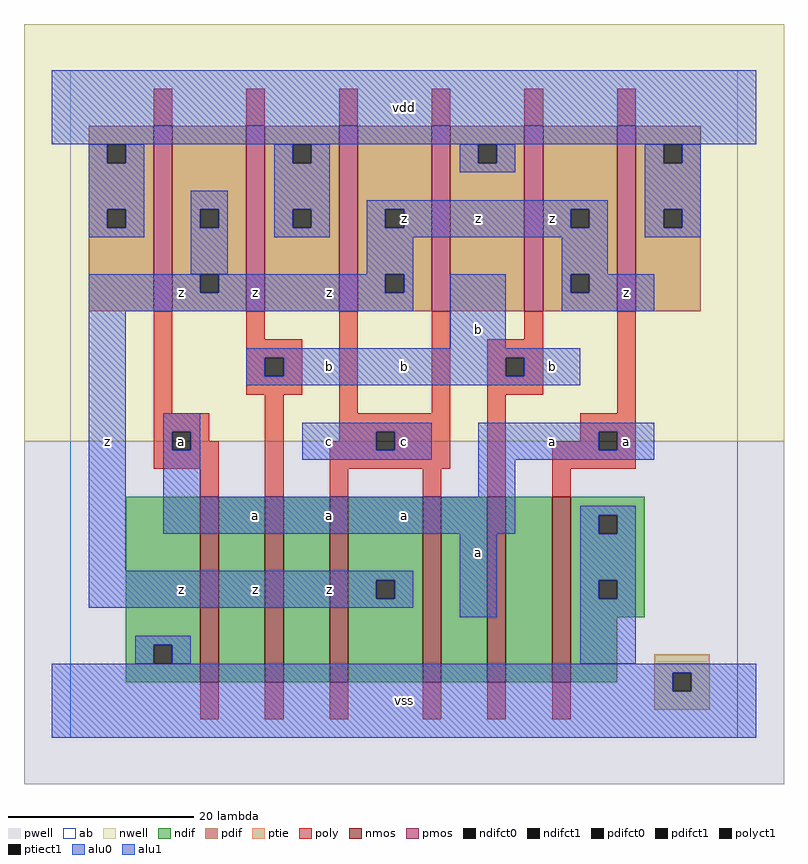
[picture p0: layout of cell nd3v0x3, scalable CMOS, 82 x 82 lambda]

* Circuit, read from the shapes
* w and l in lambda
.subckt nd3v0x3 a b c vdd vss z
M1 n1 a vss vss nfet w=20 l=2
M2 n2 b n1 vss nfet w=20 l=2
M3 z c n2 vss nfet w=20 l=2
M4 n3 c z vss nfet w=20 l=2
M5 n4 b n3 vss nfet w=20 l=2
M6 vss a n4 vss nfet w=20 l=2
M7 z a vdd n5 pfet w=20 l=2 m=2
M8 vdd b z n5 pfet w=20 l=2 m=2
M9 z c vdd n5 pfet w=20 l=2 m=2
.ends

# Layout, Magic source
magic
tech scmos
<< ab >>
rect 0 0 72 72
<< nwell >>
rect -5 32 77 77
<< pwell >>
rect -5 -5 77 32
<< poly >>
rect 9 66 11 70
rect 19 66 21 70
rect 29 66 31 70
rect 39 66 41 70
rect 49 66 51 70
rect 59 66 61 70
rect 9 35 11 46
rect 19 43 21 46
rect 19 41 25 43
rect 19 39 21 41
rect 23 39 25 41
rect 19 37 25 39
rect 9 33 15 35
rect 9 31 11 33
rect 13 32 15 33
rect 13 31 16 32
rect 9 29 16 31
rect 14 26 16 29
rect 21 26 23 37
rect 29 35 31 46
rect 39 35 41 46
rect 49 43 51 46
rect 29 33 41 35
rect 29 32 33 33
rect 28 31 33 32
rect 35 31 41 33
rect 28 29 41 31
rect 45 41 51 43
rect 45 39 47 41
rect 49 39 51 41
rect 45 37 51 39
rect 28 26 30 29
rect 38 26 40 29
rect 45 26 47 37
rect 59 35 61 46
rect 55 33 61 35
rect 55 32 57 33
rect 52 31 57 32
rect 59 31 61 33
rect 52 29 61 31
rect 52 26 54 29
rect 14 2 16 6
rect 21 2 23 6
rect 28 2 30 6
rect 38 2 40 6
rect 45 2 47 6
rect 52 2 54 6
<< ndif >>
rect 6 10 14 26
rect 6 8 9 10
rect 11 8 14 10
rect 6 6 14 8
rect 16 6 21 26
rect 23 6 28 26
rect 30 17 38 26
rect 30 15 33 17
rect 35 15 38 17
rect 30 6 38 15
rect 40 6 45 26
rect 47 6 52 26
rect 54 24 62 26
rect 54 22 57 24
rect 59 22 62 24
rect 54 17 62 22
rect 54 15 57 17
rect 59 15 62 17
rect 54 13 62 15
rect 54 6 59 13
<< pdif >>
rect 2 64 9 66
rect 2 62 4 64
rect 6 62 9 64
rect 2 57 9 62
rect 2 55 4 57
rect 6 55 9 57
rect 2 46 9 55
rect 11 57 19 66
rect 11 55 14 57
rect 16 55 19 57
rect 11 50 19 55
rect 11 48 14 50
rect 16 48 19 50
rect 11 46 19 48
rect 21 64 29 66
rect 21 62 24 64
rect 26 62 29 64
rect 21 57 29 62
rect 21 55 24 57
rect 26 55 29 57
rect 21 46 29 55
rect 31 57 39 66
rect 31 55 34 57
rect 36 55 39 57
rect 31 50 39 55
rect 31 48 34 50
rect 36 48 39 50
rect 31 46 39 48
rect 41 64 49 66
rect 41 62 44 64
rect 46 62 49 64
rect 41 46 49 62
rect 51 57 59 66
rect 51 55 54 57
rect 56 55 59 57
rect 51 50 59 55
rect 51 48 54 50
rect 56 48 59 50
rect 51 46 59 48
rect 61 64 68 66
rect 61 62 64 64
rect 66 62 68 64
rect 61 57 68 62
rect 61 55 64 57
rect 66 55 68 57
rect 61 46 68 55
<< alu1 >>
rect -2 64 74 72
rect 32 57 58 58
rect 32 55 34 57
rect 36 55 54 57
rect 56 55 58 57
rect 32 54 58 55
rect 32 50 37 54
rect 53 50 58 54
rect 2 48 14 50
rect 16 48 34 50
rect 36 48 37 50
rect 2 46 37 48
rect 2 18 6 46
rect 41 42 47 50
rect 53 48 54 50
rect 56 48 63 50
rect 53 46 63 48
rect 19 41 55 42
rect 19 39 21 41
rect 23 39 47 41
rect 49 39 55 41
rect 19 38 55 39
rect 10 33 14 35
rect 10 31 11 33
rect 13 31 14 33
rect 10 26 14 31
rect 25 33 39 34
rect 25 31 33 33
rect 35 31 39 33
rect 25 30 39 31
rect 44 33 63 34
rect 44 31 57 33
rect 59 31 63 33
rect 44 30 63 31
rect 44 26 48 30
rect 10 22 48 26
rect 2 17 37 18
rect 2 15 33 17
rect 35 15 37 17
rect 2 14 37 15
rect 42 13 46 22
rect -2 7 74 8
rect -2 5 65 7
rect 67 5 74 7
rect -2 0 74 5
<< ptie >>
rect 63 7 69 9
rect 63 5 65 7
rect 67 5 69 7
rect 63 3 69 5
<< nmos >>
rect 14 6 16 26
rect 21 6 23 26
rect 28 6 30 26
rect 38 6 40 26
rect 45 6 47 26
rect 52 6 54 26
<< pmos >>
rect 9 46 11 66
rect 19 46 21 66
rect 29 46 31 66
rect 39 46 41 66
rect 49 46 51 66
rect 59 46 61 66
<< polyct1 >>
rect 21 39 23 41
rect 11 31 13 33
rect 33 31 35 33
rect 47 39 49 41
rect 57 31 59 33
<< ndifct0 >>
rect 9 8 11 10
rect 57 22 59 24
rect 57 15 59 17
<< ndifct1 >>
rect 33 15 35 17
<< ptiect1 >>
rect 65 5 67 7
<< pdifct0 >>
rect 4 62 6 64
rect 4 55 6 57
rect 14 55 16 57
rect 24 62 26 64
rect 24 55 26 57
rect 44 62 46 64
rect 64 62 66 64
rect 64 55 66 57
<< pdifct1 >>
rect 14 48 16 50
rect 34 55 36 57
rect 34 48 36 50
rect 54 55 56 57
rect 54 48 56 50
<< alu0 >>
rect 2 62 4 64
rect 6 62 8 64
rect 2 57 8 62
rect 22 62 24 64
rect 26 62 28 64
rect 2 55 4 57
rect 6 55 8 57
rect 2 54 8 55
rect 13 57 17 59
rect 13 55 14 57
rect 16 55 17 57
rect 13 50 17 55
rect 22 57 28 62
rect 42 62 44 64
rect 46 62 48 64
rect 42 61 48 62
rect 62 62 64 64
rect 66 62 68 64
rect 22 55 24 57
rect 26 55 28 57
rect 22 54 28 55
rect 62 57 68 62
rect 62 55 64 57
rect 66 55 68 57
rect 62 54 68 55
rect 55 24 61 25
rect 55 22 57 24
rect 59 22 61 24
rect 55 17 61 22
rect 55 15 57 17
rect 59 15 61 17
rect 7 10 13 11
rect 7 8 9 10
rect 11 8 13 10
rect 55 8 61 15
<< labels >>
rlabel alu1 4 32 4 32 6 z
rlabel alu1 20 16 20 16 6 z
rlabel alu1 12 16 12 16 6 z
rlabel alu1 20 24 20 24 6 a
rlabel polyct1 12 32 12 32 6 a
rlabel alu1 12 48 12 48 6 z
rlabel alu1 20 48 20 48 6 z
rlabel alu1 36 4 36 4 6 vss
rlabel alu1 28 16 28 16 6 z
rlabel alu1 28 24 28 24 6 a
rlabel alu1 36 24 36 24 6 a
rlabel alu1 36 32 36 32 6 c
rlabel alu1 28 32 28 32 6 c
rlabel alu1 28 40 28 40 6 b
rlabel alu1 36 40 36 40 6 b
rlabel alu1 28 48 28 48 6 z
rlabel alu1 36 56 36 56 6 z
rlabel alu1 36 68 36 68 6 vdd
rlabel alu1 44 20 44 20 6 a
rlabel alu1 52 32 52 32 6 a
rlabel alu1 52 40 52 40 6 b
rlabel alu1 44 44 44 44 6 b
rlabel alu1 52 56 52 56 6 z
rlabel alu1 44 56 44 56 6 z
rlabel alu1 60 32 60 32 6 a
rlabel alu1 60 48 60 48 6 z
<< end >>
